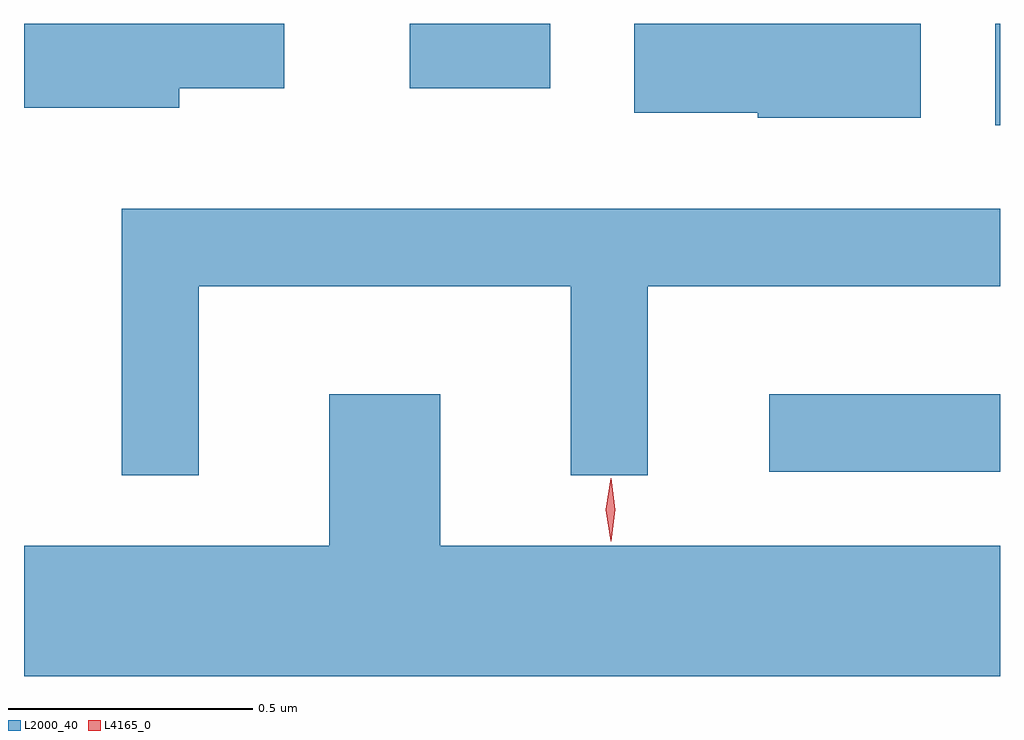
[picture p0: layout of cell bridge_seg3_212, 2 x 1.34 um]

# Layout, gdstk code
import gdstk
lib = gdstk.Library(unit=1e-6, precision=1e-09)
def R(c, l, rs):  # rectangles x0, y0, x1, y1
    for r in rs: c.add(gdstk.rectangle(r[:2], r[2:], *l))
def P(c, l, *ps):  # polygons
    for p in ps: c.add(gdstk.Polygon(p, *l))
L2000_40 = (2000, 40)
L4165_0 = (4165, 0)

bridge_seg3_212 = lib.new_cell('bridge_seg3_212')
R(bridge_seg3_212, L2000_40, [(1069.903,1159.736,1070.376,1159.894), (1070.366,1160.446,1070.376,1160.654), (1069.166,1160.521,1069.454,1160.654)])
P(bridge_seg3_212, L2000_40, [(1070.214,1160.654),(1069.626,1160.654),(1069.626,1160.471),(1069.88,1160.471),(1069.88,1160.461),(1070.214,1160.461)],
  [(1068.694,1160.521),(1068.909,1160.521),(1068.909,1160.654),(1068.376,1160.654),(1068.376,1160.481),(1068.694,1160.481)],
  [(1068.734,1160.116),(1069.496,1160.116),(1069.496,1159.728),(1069.654,1159.728),(1069.654,1160.116),(1070.376,1160.116),(1070.376,1160.274),(1068.576,1160.274),(1068.576,1159.728),(1068.734,1159.728)],
  [(1070.376,1159.584),(1069.229,1159.584),(1069.229,1159.894),(1069.001,1159.894),(1069.001,1159.584),(1068.376,1159.584),(1068.376,1159.316),(1070.376,1159.316)])
P(bridge_seg3_212, L4165_0, [(1069.578,1159.593),(1069.568,1159.658),(1069.578,1159.722),(1069.578,1159.722),(1069.579,1159.722),(1069.588,1159.658),(1069.579,1159.593),(1069.579,1159.593)])

lib.write_gds('bridge_seg3_212.gds')
